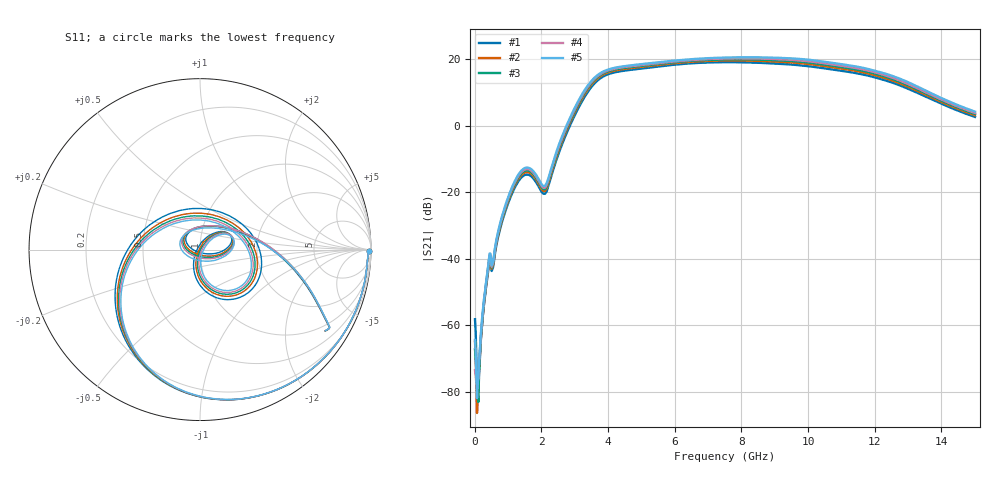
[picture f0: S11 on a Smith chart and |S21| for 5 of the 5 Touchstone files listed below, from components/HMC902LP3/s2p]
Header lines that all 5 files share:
! Hittite Microwave Corporation
! 20 Alpha Road
! Chelmsford, MA 01824
! http://www.hittite.com
! Tel: 978-250-3343
! Fax: 978-250-3373
! Device:  HMC902LP3E
! Description: GaAs pHEMT MMIC Low Noise Amplifier
! Frequency:  5.00 -  10.00 GHz
! Package:  LP3  - 3x3 mm Quad Flatpack No-Lead (QFN) Plastic Package: 16 pin
! Ports:  2 RF, 4 DC
!  Pin  3 = RF In  = Port 1
!  Pin  5 = Vgg1 (Optional)
!  Pin  6 = Vgg2 (Optional)
!  Pin 10 = RF Out  = Port 2
!  Pin 14 = Vdd2
!  Pin 15 = Vdd1
! Voltages:  Vdd  = Vdd1 = Vdd2 = +3.50  Volts
! Data:  The device was measured on evaluation board 128395.
!  Data was collected using a calibrated network analyzer.
!  The evaluation circuit board was modeled and simulated.  This was use
!  to removed the evaluation board circuit from the measured data.
!  The reference plane is the edge of the package pin.
! Misc:
! Date Measured:  2010-08-30
! Date:  2010-09-07 MJV
! Note:
# GHz S MA R 50
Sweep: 10 MHz to 15.01 GHz
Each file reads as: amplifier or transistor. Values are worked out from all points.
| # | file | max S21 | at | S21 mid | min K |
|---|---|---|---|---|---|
| 1 | HMC902LP3_Id=40mA_De-embedded.s2p | 19.1 dB | 7.57 GHz | 19.1 dB at 7.51 GHz | 2.17 |
| 2 | HMC902LP3_Id=51mA_De-embedded.s2p | 19.7 dB | 7.77 GHz | 19.6 dB at 7.51 GHz | 2.08 |
| 3 | HMC902LP3_Id=60mA_De-embedded.s2p | 20.0 dB | 7.85 GHz | 19.9 dB at 7.51 GHz | 2.04 |
| 4 | HMC902LP3_Id=70mA_De-embedded.s2p | 20.3 dB | 8.01 GHz | 20.2 dB at 7.51 GHz | 2.00 |
| 5 | HMC902LP3_OpenVgg_De-embedded.s2p | 20.6 dB | 8.37 GHz | 20.5 dB at 7.51 GHz | 1.95 |
